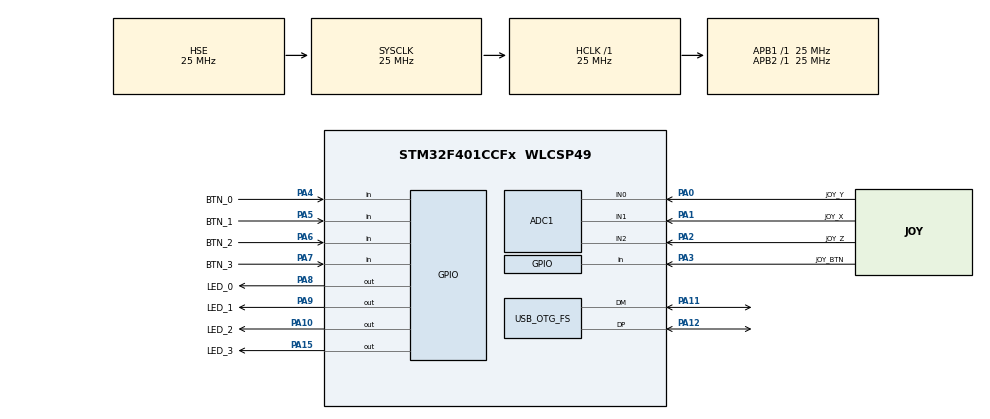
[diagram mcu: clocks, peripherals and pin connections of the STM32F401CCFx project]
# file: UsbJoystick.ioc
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ADC1.Channel-0\#ChannelRegularConversion=ADC_CHANNEL_0
ADC1.Channel-3\#ChannelRegularConversion=ADC_CHANNEL_1
ADC1.Channel-4\#ChannelRegularConversion=ADC_CHANNEL_2
ADC1.ClockPrescaler=ADC_CLOCK_SYNC_PCLK_DIV8
ADC1.ContinuousConvMode=ENABLE
ADC1.DMAContinuousRequests=ENABLE
ADC1.DiscontinuousConvMode=DISABLE
ADC1.NbrOfConversion=3
ADC1.NbrOfConversionFlag=1
ADC1.Rank-0\#ChannelRegularConversion=1
ADC1.Rank-3\#ChannelRegularConversion=2
ADC1.Rank-4\#ChannelRegularConversion=3
ADC1.SamplingTime-0\#ChannelRegularConversion=ADC_SAMPLETIME_28CYCLES
ADC1.SamplingTime-3\#ChannelRegularConversion=ADC_SAMPLETIME_28CYCLES
ADC1.SamplingTime-4\#ChannelRegularConversion=ADC_SAMPLETIME_28CYCLES
ADC1.master=1
Dma.ADC1.0.Direction=DMA_PERIPH_TO_MEMORY
Dma.ADC1.0.FIFOMode=DMA_FIFOMODE_DISABLE
Dma.ADC1.0.Instance=DMA2_Stream0
Dma.ADC1.0.MemDataAlignment=DMA_MDATAALIGN_HALFWORD
Dma.ADC1.0.MemInc=DMA_MINC_ENABLE
Dma.ADC1.0.Mode=DMA_CIRCULAR
Dma.ADC1.0.PeriphDataAlignment=DMA_PDATAALIGN_HALFWORD
Dma.ADC1.0.PeriphInc=DMA_PINC_DISABLE
Dma.ADC1.0.Priority=DMA_PRIORITY_LOW
Dma.Request0=ADC1
Mcu.Family=STM32F4
Mcu.Name=STM32F401CCFx
Mcu.Package=WLCSP49
NVIC.DMA2_Stream0_IRQn=true\:0\:0\:false\:false\:true\:false\:true
NVIC.OTG_FS_IRQn=true\:0\:0\:false\:false\:true\:false\:true
NVIC.PriorityGroup=NVIC_PRIORITYGROUP_4
PA0-WKUP.GPIO_Label=JOY_Y
PA0-WKUP.Signal=ADCx_IN0
PA1.GPIO_Label=JOY_X
PA1.Signal=ADCx_IN1
PA10.GPIO_Label=LED_2
PA10.Signal=GPIO_Output
PA11.Mode=Device_Only
PA11.Signal=USB_OTG_FS_DM
PA12.Mode=Device_Only
PA12.Signal=USB_OTG_FS_DP
PA13.Mode=Serial_Wire
PA13.Signal=SYS_JTMS-SWDIO
PA14.Mode=Serial_Wire
PA14.Signal=SYS_JTCK-SWCLK
PA15.GPIO_Label=LED_3
PA15.Signal=GPIO_Output
PA2.GPIO_Label=JOY_Z
PA2.Signal=ADCx_IN2
PA3.GPIO_Label=JOY_BTN
PA3.GPIO_PuPd=GPIO_PULLUP
PA3.Signal=GPIO_Input
PA4.GPIO_Label=BTN_0
PA4.GPIO_PuPd=GPIO_PULLUP
PA4.Signal=GPIO_Input
PA5.GPIO_Label=BTN_1
PA5.GPIO_PuPd=GPIO_PULLUP
PA5.Signal=GPIO_Input
PA6.GPIO_Label=BTN_2
PA6.GPIO_PuPd=GPIO_PULLUP
PA6.Signal=GPIO_Input
PA7.GPIO_Label=BTN_3
PA7.GPIO_PuPd=GPIO_PULLUP
PA7.Signal=GPIO_Input
PA8.GPIO_Label=LED_0
PA8.Signal=GPIO_Output
PA9.GPIO_Label=LED_1
PA9.Signal=GPIO_Output
PC14-OSC32_IN.Mode=LSE-External-Oscillator
PC14-OSC32_IN.Signal=RCC_OSC32_IN
PC15-OSC32_OUT.Mode=LSE-External-Oscillator
PC15-OSC32_OUT.Signal=RCC_OSC32_OUT
PH0\ -\ OSC_IN.Mode=HSE-External-Oscillator
PH0\ -\ OSC_IN.Signal=RCC_OSC_IN
PH1\ -\ OSC_OUT.Mode=HSE-External-Oscillator
PH1\ -\ OSC_OUT.Signal=RCC_OSC_OUT
ProjectManager.HeapSize=0x200
ProjectManager.StackSize=0x400
ProjectManager.TargetToolchain=STM32CubeIDE
RCC.48MHZClocksFreq_Value=48000000
RCC.AHBFreq_Value=25000000
RCC.APB1Freq_Value=25000000
RCC.APB1TimFreq_Value=25000000
RCC.APB2Freq_Value=25000000
RCC.APB2TimFreq_Value=25000000
RCC.CortexFreq_Value=25000000
RCC.HCLKFreq_Value=25000000
RCC.HSE_VALUE=25000000
RCC.HSI_VALUE=16000000
RCC.PLLM=15
RCC.PLLN=144
RCC.PLLQ=5
RCC.SYSCLKFreq_VALUE=25000000
RCC.SYSCLKSource=RCC_SYSCLKSOURCE_HSE
RCC.VCOOutputFreq_Value=240000000
SH.ADCx_IN0.0=ADC1_IN0,IN0
SH.ADCx_IN1.0=ADC1_IN1,IN1
SH.ADCx_IN2.0=ADC1_IN2,IN2
USB_DEVICE.CLASS_NAME_FS=HID
USB_DEVICE.MANUFACTURER_STRING=RobotCasserole
USB_DEVICE.USBD_SELF_POWERED=0
USB_DEVICE.VirtualMode=Hid
USB_DEVICE.VirtualModeFS=Hid_FS
USB_OTG_FS.VirtualMode=Device_Only
VP_USB_DEVICE_VS_USB_DEVICE_HID_FS.Mode=HID_FS
board=custom

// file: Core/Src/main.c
/* USER CODE BEGIN Header */
/**
  ******************************************************************************
  * @file           : main.c
  * @brief          : Main program body
  ******************************************************************************
  * @attention
  *
  * Copyright (c) 2023 STMicroelectronics.
  * All rights reserved.
  *
  * This software is licensed under terms that can be found in the LICENSE file
  * in the root directory of this software component.
  * If no LICENSE file comes with this software, it is provided AS-IS.
  *
  ******************************************************************************
  */
/* USER CODE END Header */
#include "main.h"
#include "usb_device.h"

/* USER CODE BEGIN Includes */
#include "usbd_hid.h"
#include <stdbool.h>
#include <math.h>

/* USER CODE END Includes */

ADC_HandleTypeDef hadc1;
DMA_HandleTypeDef hdma_adc1;

void SystemClock_Config(void);
static void MX_GPIO_Init(void);
static void MX_ADC1_Init(void);
static void MX_DMA_Init(void);

/* USER CODE BEGIN 0 */

// Utility funciton for mapping values from one range to another
float map(float in, float in_min, float in_max, float out_min, float out_max){
  return out_min + (out_max - out_min)/(in_max - in_min) * (in - in_min);
}

// This array hold the the channels ADC value
volatile uint16_t adc_dma_result[3];
// This variable calculate the array length.
// In our case, array size in 3
int adc_channel_count = sizeof(adc_dma_result)/sizeof(adc_dma_result[0]);
// This flag will help to detect
// the DMA conversion completed or not
uint8_t adc_conv_complete_flag = 0;

// when DMA conversion is completed, HAL_ADC_ConvCpltCallback function
// will interrupt the processor. You can find this function in
// Drivers>STM32F4xx_HAL_Drivers>stm32f4xx_hal_adc.c file as __weak attribute
void HAL_ADC_ConvCpltCallback(ADC_HandleTypeDef* hadc){
	// I set adc_conv_complete_flag variable to 1 when,
	// HAL_ADC_ConvCpltCallback function is call.
	adc_conv_complete_flag = 1;
}

/* USER CODE END 0 */

int main(void)
{

  /* MCU Configuration--------------------------------------------------------*/

  /* Reset of all peripherals, Initializes the Flash interface and the Systick. */
  HAL_Init();

  /* Configure the system clock */
  SystemClock_Config();

  /* Initialize all configured peripherals */
  MX_GPIO_Init();
  MX_DMA_Init();
  MX_ADC1_Init();
  MX_USB_DEVICE_Init();
  /* USER CODE BEGIN 2 */

  int8_t counter1 = 0;

  // Initialize the DMA conversion
  HAL_ADC_Start_DMA(&hadc1, (uint32_t *) adc_dma_result , adc_channel_count);

  /* USER CODE END 2 */

  /* Infinite loop */
  while (1)
  {

    /* USER CODE BEGIN 3 */

    ////////////////////////////////////////////////
    // Read physical things and send to host

    uint8_t report[4];

    static uint32_t xAxisADCBits ;
    static uint32_t yAxisADCBits ;
    static uint32_t zAxisADCBits ;

    // grab new results of ADC conversion if available
    if(adc_conv_complete_flag == 1){
      xAxisADCBits = adc_dma_result[0];
      yAxisADCBits = adc_dma_result[1];
      zAxisADCBits = adc_dma_result[2];
       adc_conv_complete_flag = 0;
    }

    //Remap axis ranges
    float xAxisRaw = ((float)xAxisADCBits)/(4096.0) * 2.0 - 1.0; //convert to wpilib -1 to 1 range
    float yAxisRaw = ((float)yAxisADCBits)/(4096.0) * 2.0 - 1.0; //convert to wpilib -1 to 1 range
    float zAxisRaw = ((float)zAxisADCBits)/(4096.0) * 2.0 - 1.0; //convert to wpilib -1 to 1 range

    //todo deadzone/filtering

    //todo filtering?

    // Read buttons
    // Buttons are wired to pull the pin to ground when pressed
    bool btn0Raw   = HAL_GPIO_ReadPin(BTN_0_GPIO_Port, BTN_0_Pin) == GPIO_PIN_RESET;
    bool btn1Raw   = HAL_GPIO_ReadPin(BTN_1_GPIO_Port, BTN_1_Pin) == GPIO_PIN_RESET;
    bool btn2Raw   = HAL_GPIO_ReadPin(BTN_2_GPIO_Port, BTN_2_Pin) == GPIO_PIN_RESET;
    bool btn3Raw   = HAL_GPIO_ReadPin(BTN_3_GPIO_Port, BTN_3_Pin) == GPIO_PIN_RESET;
    bool joyBtnRaw = HAL_GPIO_ReadPin(JOY_BTN_GPIO_Port, JOY_BTN_Pin) == GPIO_PIN_RESET;

    //populate and send report
    report[0] = (int8_t)(map(xAxisRaw, -1.0, 1.0, -128.0, 127.0));
    report[1] = (int8_t)(map(yAxisRaw, -1.0, 1.0, -128.0, 127.0));
    report[2] = (int8_t)(map(zAxisRaw, -1.0, 1.0, -128.0, 127.0));
    //Bitpack buttons
    report[3] = 0x00;
    if(btn0Raw)  { report[3] |= 0x01; }
    if(btn1Raw)  { report[3] |= 0x02; }
    if(btn2Raw)  { report[3] |= 0x04; }
    if(btn3Raw)  { report[3] |= 0x08; }
    if(joyBtnRaw){ report[3] |= 0x10; }

    USBD_HID_SendReport(&hUsbDeviceFS, report, 4);

    // Set up LED's per request from host
    HAL_GPIO_WritePin(LED_0_GPIO_Port, LED_0_Pin, ledReportData[0] & 0x01 ? GPIO_PIN_SET : GPIO_PIN_RESET);
    HAL_GPIO_WritePin(LED_1_GPIO_Port, LED_1_Pin, ledReportData[0] & 0x02 ? GPIO_PIN_SET : GPIO_PIN_RESET);
    HAL_GPIO_WritePin(LED_2_GPIO_Port, LED_2_Pin, ledReportData[0] & 0x04 ? GPIO_PIN_SET : GPIO_PIN_RESET);
    HAL_GPIO_WritePin(LED_3_GPIO_Port, LED_3_Pin, ledReportData[0] & 0x08 ? GPIO_PIN_SET : GPIO_PIN_RESET);

    counter1++;
    HAL_Delay(10);

  }
  /* USER CODE END 3 */
}

void SystemClock_Config(void)
{
  RCC_OscInitTypeDef RCC_OscInitStruct = {0};
  RCC_ClkInitTypeDef RCC_ClkInitStruct = {0};

  /** Configure the main internal regulator output voltage
  */
  __HAL_RCC_PWR_CLK_ENABLE();
  __HAL_PWR_VOLTAGESCALING_CONFIG(PWR_REGULATOR_VOLTAGE_SCALE2);
  /** Initializes the RCC Oscillators according to the specified parameters
  * in the RCC_OscInitTypeDef structure.
  */
  RCC_OscInitStruct.OscillatorType = RCC_OSCILLATORTYPE_HSE;
  RCC_OscInitStruct.HSEState = RCC_HSE_ON;
  RCC_OscInitStruct.PLL.PLLState = RCC_PLL_ON;
  RCC_OscInitStruct.PLL.PLLSource = RCC_PLLSOURCE_HSE;
  RCC_OscInitStruct.PLL.PLLM = 15;
  RCC_OscInitStruct.PLL.PLLN = 144;
  RCC_OscInitStruct.PLL.PLLP = RCC_PLLP_DIV2;
  RCC_OscInitStruct.PLL.PLLQ = 5;
  if (HAL_RCC_OscConfig(&RCC_OscInitStruct) != HAL_OK)
  {
    Error_Handler();
  }
  /** Initializes the CPU, AHB and APB buses clocks
  */
  RCC_ClkInitStruct.ClockType = RCC_CLOCKTYPE_HCLK|RCC_CLOCKTYPE_SYSCLK
                              |RCC_CLOCKTYPE_PCLK1|RCC_CLOCKTYPE_PCLK2;
  RCC_ClkInitStruct.SYSCLKSource = RCC_SYSCLKSOURCE_HSE;
  RCC_ClkInitStruct.AHBCLKDivider = RCC_SYSCLK_DIV1;
  RCC_ClkInitStruct.APB1CLKDivider = RCC_HCLK_DIV1;
  RCC_ClkInitStruct.APB2CLKDivider = RCC_HCLK_DIV1;

  if (HAL_RCC_ClockConfig(&RCC_ClkInitStruct, FLASH_LATENCY_0) != HAL_OK)
  {
    Error_Handler();
  }
}

static void MX_ADC1_Init(void)
{

  ADC_ChannelConfTypeDef sConfig = {0};

  /** Configure the global features of the ADC (Clock, Resolution, Data Alignment and number of conversion)
  */
  hadc1.Instance = ADC1;
  hadc1.Init.ClockPrescaler = ADC_CLOCK_SYNC_PCLK_DIV8;
  hadc1.Init.Resolution = ADC_RESOLUTION_12B;
  hadc1.Init.ScanConvMode = ENABLE;
  hadc1.Init.ContinuousConvMode = ENABLE;
  hadc1.Init.DiscontinuousConvMode = DISABLE;
  hadc1.Init.ExternalTrigConvEdge = ADC_EXTERNALTRIGCONVEDGE_NONE;
  hadc1.Init.ExternalTrigConv = ADC_SOFTWARE_START;
  hadc1.Init.DataAlign = ADC_DATAALIGN_RIGHT;
  hadc1.Init.NbrOfConversion = 3;
  hadc1.Init.DMAContinuousRequests = ENABLE;
  hadc1.Init.EOCSelection = ADC_EOC_SINGLE_CONV;
  if (HAL_ADC_Init(&hadc1) != HAL_OK)
  {
    Error_Handler();
  }
  /** Configure for the selected ADC regular channel its corresponding rank in the sequencer and its sample time.
  */
  sConfig.Channel = ADC_CHANNEL_0;
  sConfig.Rank = 1;
  sConfig.SamplingTime = ADC_SAMPLETIME_28CYCLES;
  if (HAL_ADC_ConfigChannel(&hadc1, &sConfig) != HAL_OK)
  {
    Error_Handler();
  }
  /** Configure for the selected ADC regular channel its corresponding rank in the sequencer and its sample time.
  */
  sConfig.Channel = ADC_CHANNEL_1;
  sConfig.Rank = 2;
  if (HAL_ADC_ConfigChannel(&hadc1, &sConfig) != HAL_OK)
  {
    Error_Handler();
  }
  /** Configure for the selected ADC regular channel its corresponding rank in the sequencer and its sample time.
  */
  sConfig.Channel = ADC_CHANNEL_2;
  sConfig.Rank = 3;
  if (HAL_ADC_ConfigChannel(&hadc1, &sConfig) != HAL_OK)
  {
    Error_Handler();
  }

}

static void MX_DMA_Init(void)
{

  /* DMA controller clock enable */
  __HAL_RCC_DMA2_CLK_ENABLE();

  /* DMA interrupt init */
  /* DMA2_Stream0_IRQn interrupt configuration */
  HAL_NVIC_SetPriority(DMA2_Stream0_IRQn, 0, 0);
  HAL_NVIC_EnableIRQ(DMA2_Stream0_IRQn);

}

static void MX_GPIO_Init(void)
{
  GPIO_InitTypeDef GPIO_InitStruct = {0};

  /* GPIO Ports Clock Enable */
  __HAL_RCC_GPIOA_CLK_ENABLE();
  __HAL_RCC_GPIOC_CLK_ENABLE();
  __HAL_RCC_GPIOH_CLK_ENABLE();

  /*Configure GPIO pin Output Level */
  HAL_GPIO_WritePin(GPIOA, LED_3_Pin|LED_2_Pin|LED_0_Pin|LED_1_Pin, GPIO_PIN_RESET);

  /*Configure GPIO pins : LED_3_Pin LED_2_Pin LED_0_Pin LED_1_Pin */
  GPIO_InitStruct.Pin = LED_3_Pin|LED_2_Pin|LED_0_Pin|LED_1_Pin;
  GPIO_InitStruct.Mode = GPIO_MODE_OUTPUT_PP;
  GPIO_InitStruct.Pull = GPIO_NOPULL;
  GPIO_InitStruct.Speed = GPIO_SPEED_FREQ_LOW;
  HAL_GPIO_Init(GPIOA, &GPIO_InitStruct);

  /*Configure GPIO pins : JOY_BTN_Pin BTN_3_Pin BTN_2_Pin BTN_1_Pin
                           BTN_0_Pin */
  GPIO_InitStruct.Pin = JOY_BTN_Pin|BTN_3_Pin|BTN_2_Pin|BTN_1_Pin
                          |BTN_0_Pin;
  GPIO_InitStruct.Mode = GPIO_MODE_INPUT;
  GPIO_InitStruct.Pull = GPIO_PULLUP;
  HAL_GPIO_Init(GPIOA, &GPIO_InitStruct);

}

void Error_Handler(void)
{
  __disable_irq();
  while (1)
  {
  }
}
